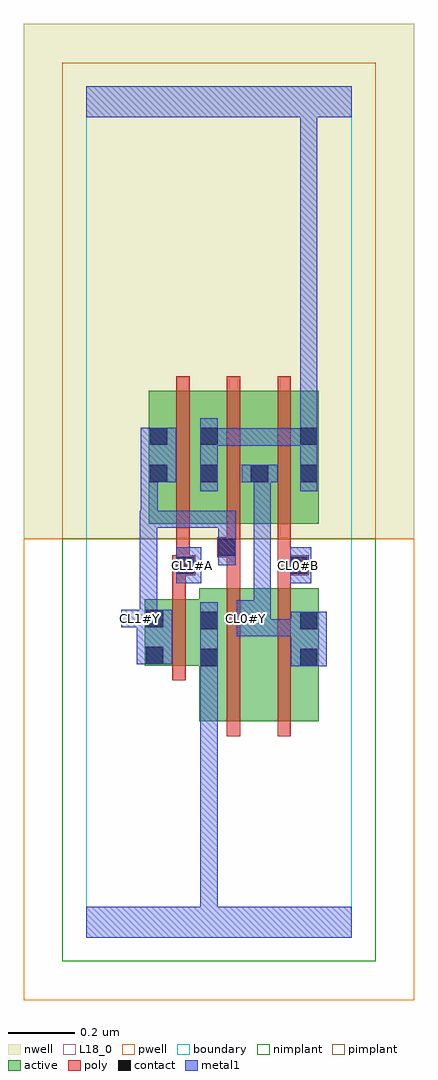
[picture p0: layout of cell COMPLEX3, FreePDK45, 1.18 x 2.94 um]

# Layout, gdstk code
import gdstk
lib = gdstk.Library(unit=1e-6, precision=1e-09)
def R(c, l, rs):  # rectangles x0, y0, x1, y1
    for r in rs: c.add(gdstk.rectangle(r[:2], r[2:], *l))
def A(c, l, x, y, w, h, nx, ny, dx, dy):  # array of equal rectangles
    R(c, l, [(x+i*dx, y+j*dy, x+i*dx+w, y+j*dy+h) for i in range(nx) for j in range(ny)])
active = (1, 0)
pwell = (2, 0)
nwell = (3, 0)
nimplant = (4, 0)
pimplant = (5, 0)
poly = (9, 0)
contact = (10, 0)
metal1 = (11, 0)
L18_0 = (18, 0)
boundary = (235, 0)

complex3 = lib.new_cell('COMPLEX3')
A(complex3, active, 0.188, 1.244, 0.06, 0.4, 3, 1, 0.152, 0)
R(complex3, active, [(0.34,0.65,0.52,1.05), (0.34,0.65,0.4,0.984), (0.52,0.65,0.7,1.05), (0.64,0.756,0.7,1.05), (0.176,0.818,0.4,1.018), (0.176,0.818,0.236,1.018), (0.188,1.244,0.4,1.644), (0.34,1.244,0.552,1.644), (0.492,1.244,0.7,1.644), (0.64,1.244,0.7,1.644)])
R(complex3, pwell, [(-0.188,-0.188,0.988,1.2)])
R(complex3, nwell, [(-0.188,1.2,0.988,2.748)])
R(complex3, nimplant, [(-0.072,-0.072,0.872,1.2)])
R(complex3, pimplant, [(-0.072,1.2,0.872,2.632)])
A(complex3, poly, 0.272, 1.2, 0.04, 0.488, 3, 1, 0.152, 0)
R(complex3, poly, [(0.424,0.606,0.464,1.094), (0.576,0.606,0.616,1.094), (0.26,0.774,0.3,1.062), (0.26,1.022,0.3,1.13), (0.424,1.054,0.464,1.184), (0.576,1.054,0.616,1.13), (0.26,1.09,0.328,1.15), (0.576,1.09,0.67,1.15), (0.272,1.11,0.312,1.24), (0.272,1.11,0.312,1.15), (0.272,1.11,0.312,1.15), (0.576,1.11,0.616,1.24), (0.576,1.11,0.616,1.15), (0.576,1.11,0.616,1.15), (0.394,1.144,0.464,1.204), (0.424,1.144,0.464,1.184), (0.424,1.144,0.464,1.184), (0.424,1.164,0.464,1.24)])
A(complex3, contact, 0.192, 1.37, 0.052, 0.052, 3, 1, 0.152, 0)
R(complex3, contact, [(0.344,0.816,0.396,0.868), (0.644,0.816,0.696,0.868), (0.18,0.822,0.232,0.874), (0.344,0.928,0.396,0.98), (0.644,0.928,0.696,0.98), (0.18,0.934,0.232,0.986), (0.272,1.094,0.324,1.146), (0.614,1.094,0.666,1.146), (0.398,1.148,0.45,1.2), (0.644,1.37,0.696,1.422), (0.192,1.482,0.244,1.534), (0.344,1.482,0.396,1.534), (0.644,1.482,0.696,1.534)])
R(complex3, metal1, [(0,0,0.8,0.092), (0.344,0.04,0.396,0.092), (0.344,0.04,0.396,0.092), (0.344,0.04,0.396,0.84), (0.344,0.788,0.396,0.84), (0.344,0.788,0.396,0.84), (0.344,0.788,0.396,0.84), (0.344,0.788,0.396,0.84), (0.344,0.788,0.396,0.84), (0.344,0.788,0.396,0.84), (0.344,0.788,0.396,0.84), (0.344,0.788,0.396,0.84), (0.344,0.788,0.396,0.84), (0.344,0.788,0.396,0.84), (0.344,0.788,0.396,1.008), (0.616,0.816,0.724,0.98), (0.152,0.822,0.26,0.986), (0.454,0.906,0.556,1.014), (0.504,0.906,0.556,0.958), (0.504,0.906,0.556,0.958), (0.504,0.906,0.668,0.958), (0.616,0.906,0.668,0.958), (0.616,0.906,0.668,0.958), (0.106,0.934,0.214,0.986), (0.152,0.934,0.204,0.986), (0.162,0.934,0.214,1.284), (0.504,0.962,0.556,1.422), (0.272,1.066,0.346,1.174), (0.614,1.066,0.678,1.174), (0.398,1.12,0.45,1.284), (0.162,1.232,0.216,1.284), (0.164,1.232,0.216,1.284), (0.164,1.232,0.216,1.284), (0.164,1.232,0.396,1.284), (0.164,1.232,0.216,1.422), (0.344,1.232,0.396,1.284), (0.344,1.232,0.45,1.284), (0.344,1.342,0.396,1.562), (0.644,1.342,0.696,1.562), (0.164,1.37,0.272,1.534), (0.468,1.37,0.576,1.422), (0.504,1.37,0.556,1.422), (0.504,1.37,0.556,1.422), (0.344,1.48,0.396,1.532), (0.344,1.48,0.396,1.532), (0.344,1.48,0.558,1.532), (0.506,1.48,0.558,1.532), (0.506,1.48,0.696,1.532), (0.644,1.48,0.696,1.532), (0.644,1.48,0.696,1.532), (0.644,1.51,0.696,1.562), (0.644,1.51,0.696,1.562), (0.644,1.51,0.696,1.562), (0.644,1.51,0.696,1.562), (0.644,1.51,0.696,1.562), (0.644,1.51,0.696,1.562), (0.644,1.51,0.696,1.562), (0.644,1.51,0.696,1.562), (0.644,1.51,0.696,1.562), (0.644,1.51,0.696,1.562), (0.644,1.51,0.696,1.562), (0.644,1.51,0.696,1.562), (0.644,1.51,0.696,1.562), (0.644,1.51,0.696,1.562), (0.644,1.51,0.696,1.562), (0.644,1.51,0.696,1.562), (0.644,1.51,0.696,2.52), (0,2.468,0.8,2.56)])
R(complex3, L18_0, [(0,0,0.8,0.092), (0.344,0.04,0.396,0.092), (0.344,0.04,0.396,0.092), (0.344,0.04,0.396,0.84), (0.344,0.788,0.396,0.84), (0.344,0.788,0.396,0.84), (0.344,0.788,0.396,0.84), (0.344,0.788,0.396,0.84), (0.344,0.788,0.396,0.84), (0.344,0.788,0.396,0.84), (0.344,0.788,0.396,0.84), (0.344,0.788,0.396,0.84), (0.344,0.788,0.396,0.84), (0.344,0.788,0.396,0.84), (0.344,0.788,0.396,1.008), (0.616,0.816,0.724,0.98), (0.152,0.822,0.26,0.986), (0.454,0.906,0.556,1.014), (0.504,0.906,0.556,0.958), (0.504,0.906,0.556,0.958), (0.504,0.906,0.668,0.958), (0.616,0.906,0.668,0.958), (0.616,0.906,0.668,0.958), (0.106,0.934,0.214,0.986), (0.134,0.934,0.186,0.986), (0.152,0.934,0.204,0.986), (0.162,0.934,0.214,1.284), (0.454,0.934,0.506,0.986), (0.504,0.962,0.556,1.422), (0.272,1.066,0.346,1.174), (0.614,1.066,0.678,1.174), (0.294,1.094,0.346,1.146), (0.614,1.094,0.666,1.146), (0.398,1.12,0.45,1.284), (0.162,1.232,0.216,1.284), (0.164,1.232,0.216,1.284), (0.164,1.232,0.216,1.284), (0.164,1.232,0.216,1.422), (0.164,1.232,0.396,1.284), (0.344,1.232,0.396,1.284), (0.344,1.232,0.45,1.284), (0.344,1.342,0.396,1.562), (0.644,1.342,0.696,1.562), (0.164,1.37,0.272,1.534), (0.468,1.37,0.576,1.422), (0.504,1.37,0.556,1.422), (0.504,1.37,0.556,1.422), (0.344,1.48,0.396,1.532), (0.344,1.48,0.396,1.532), (0.344,1.48,0.558,1.532), (0.506,1.48,0.558,1.532), (0.506,1.48,0.696,1.532), (0.644,1.48,0.696,1.532), (0.644,1.48,0.696,1.532), (0.644,1.51,0.696,1.562), (0.644,1.51,0.696,1.562), (0.644,1.51,0.696,1.562), (0.644,1.51,0.696,1.562), (0.644,1.51,0.696,1.562), (0.644,1.51,0.696,1.562), (0.644,1.51,0.696,1.562), (0.644,1.51,0.696,1.562), (0.644,1.51,0.696,1.562), (0.644,1.51,0.696,1.562), (0.644,1.51,0.696,1.562), (0.644,1.51,0.696,1.562), (0.644,1.51,0.696,1.562), (0.644,1.51,0.696,1.562), (0.644,1.51,0.696,1.562), (0.644,1.51,0.696,1.562), (0.644,1.51,0.696,2.52), (0,2.468,0.8,2.56)])
R(complex3, boundary, [(0,0,0.8,2.56)])
complex3.add(gdstk.Label('CL0#B', (0.64,1.12), layer=11, texttype=0))
complex3.add(gdstk.Label('CL0#Y', (0.48,0.96), layer=11, texttype=0))
complex3.add(gdstk.Label('CL1#A', (0.32,1.12), layer=11, texttype=0))
complex3.add(gdstk.Label('CL1#Y', (0.16,0.96), layer=11, texttype=0))

lib.write_gds('COMPLEX3.gds')
